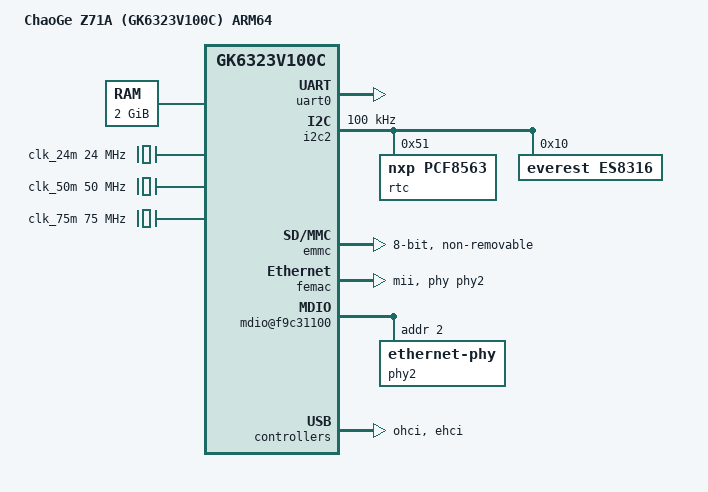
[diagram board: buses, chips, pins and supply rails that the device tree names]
// SPDX-License-Identifier: GPL-2.0+
/*
 * 国科微 GK6323V100C（整机型号 ChaoGe Z71A）板级设备树 —— CRG 门控/复位版
 *
 * 基线 = 能正常进 rootfs 的那一版（256 行，引导最小集），本版只在它上面
 * 加了三处，其余一行未动：
 *
 *   1) soc 下新增 CRG 节点 clock@f8a22000，compatible 用本仓库 900-01 补丁
 *      新增的驱动认的 "goke,gk6323v100c-crg"，只提供 #reset-cells = <2>
 *      （寄存器偏移, 位号）。该驱动在 probe 时直接把 eMMC / USB2 / FEMAC
 *      三组时钟门控写开、软复位放开；
 *   2) femac 节点补上 resets = <&cru 0xd0 3>; reset-names = "mac";
 *      —— hisi_femac 驱动对 "mac" 复位是强制要求，缺了它 probe 直接失败
 *      （真机日志里那条 hisi-femac ... failed with error -2 就是它）；
 *      只给 "mac"，不给 "phy"：给了 "phy" 之后驱动会去读
 *      hisilicon,phy-reset-* 延时属性，属性不存在会让 probe 直接失败。
 *   3) 补回 vdp@7f000000 保留区（16MB）：U-Boot 把开机 logo 的帧缓冲放在
 *      0x7f511000，内核若把这块当普通内存分配会立刻盖掉画面（花屏）。
 *
 * 为什么外设时钟仍用 fixed-clock、不引用 <&cru N>：
 *   时钟 provider 一旦注册失败，所有引用它的外设会永久 -EPROBE_DEFER，
 *   连挂根文件系统的 eMMC 一起拖死。门控由 CRG 驱动直接写寄存器完成，
 *   效果相同而不会牵连启动路径。
 *
 * 与真机原树的有意差异（让主线内核能认领硬件）：
 *   1) eMMC 的 compatible 追加 "snps,dw-mshc"，使主线 dw_mmc-pltfm 能够认领；
 *   2) 各外设时钟用下面的 fixed-clock，不再引用国科私有 CRU；
 *   3) 真机树里主线无驱动的节点（cpufreq、thermal、ir）不写；
 *      aiao 音频改用补丁库 605-03 的 hisilicon,hi3798mv200-aiao-i2s 节点。
 *
 * 中断 specifier：GICv3 为 3 个 cell = <类型 号 触发方式>，类型 0=SPI、1=PPI，
 * 号是 GIC 视角的号（SPI 号 = 真机 /proc/interrupts 里的号 - 32）。
 */

/dts-v1/;

/ {
	model = "ChaoGe Z71A (GK6323V100C) ARM64";
	compatible = "chaoge,z71a", "goke,gk6323v100c";
	#address-cells = <2>;
	#size-cells = <2>;
	interrupt-parent = <&gic>;

	/* stdout-path = "serial0:..." 依赖这条别名，其余别名引导用不到 */
	aliases {
		serial0 = &uart0;
	};

	chosen {
		/* 与 bootargs 分区一致；root= 亦由此下发 */
		bootargs = "earlycon=pl011,mmio32,0xf8b00000,115200n8 console=ttyAMA0,115200n8 console=tty0 clk_ignore_unused net.ifnames=0 root=/dev/mmcblk0p18 rootfstype=ext4 rootwait rw panic=-1 blkdevparts=mmcblk0:1M(fastboot),512K(bootargs),512K(bootargsbak),20M(recovery),2M(deviceinfo),8M(securestore),2M(atf),8M(baseparam),8M(pqparam),2M(dtbo),10M(logo),10M(logobak),20M(fastplay),20M(recoverybak),60M(boot),20M(misc),20M(trustedcore),-(rootfs)";
		stdout-path = "serial0:115200n8";
	};

	/*
	 * 内存：2GiB，取自真机导出的设备树，与真机 /proc/meminfo 的
	 * MemTotal: 2018984 kB 吻合。
	 * ★ 不要被 U-Boot 的 "DRAM: 1 GiB" 误导：那是 U-Boot 自己的可映射上限，
	 *   不代表硬件容量。写成 1GiB 会让内核白白少认一半内存。
	 */
	memory@0 {
		device_type = "memory";
		reg = <0x00 0x00 0x00 0x80000000>;
	};

	/* BL31(ATF) 与 OPTEE 占用区，必须告知内核，否则会被当作可用内存 */
	reserved-memory {
		#address-cells = <2>;
		#size-cells = <2>;
		ranges;

		bl31@8020000 {
			reg = <0x00 0x8020000 0x00 0x200000>;
			no-map;
		};

		optee@d200000 {
			reg = <0x00 0xd200000 0x00 0x400000>;
			no-map;
		};

		/*
		 * VDP/framebuffer 保留区（16MB）：
		 * U-Boot 在 0x7f511000 放了开机 logo 的帧缓冲，内核若把这块当
		 * 普通内存分配，会立刻盖掉画面造成花屏。与真机原树的
		 * vdp@7f000000 对齐。
		 */
		vdp@7f000000 {
			reg = <0x00 0x7f000000 0x00 0x01000000>;
			no-map;
		};
	};

	/*
	 * 外设时钟一律用固定时钟：国科私有 CRU 无主线驱动，引用它会让外设
	 * probe 永久 -EPROBE_DEFER；CRG 的门控与复位由 900-01 补丁的驱动
	 * 在 probe 时直接写寄存器处理。
	 */
	clocks {
		clk_24m: clk-24m {
			compatible = "fixed-clock";
			#clock-cells = <0>;
			clock-frequency = <24000000>;
		};

		clk_50m: clk-50m {
			compatible = "fixed-clock";
			#clock-cells = <0>;
			clock-frequency = <50000000>;
		};

		clk_75m: clk-75m {
			compatible = "fixed-clock";
			#clock-cells = <0>;
			clock-frequency = <75000000>;
		};

		/*
		 * AIAO 送给板载 ES8316 的 MCLK。48k 家族要 256×fs = 12.288MHz，
		 * 与下面 sound 节点的 simple-audio-card,mclk-fs = <256> 对应。
		 * 真实 MCLK 引脚由 AIAO 块自己按 245.76MHz 分频驱动（在驱动里），
		 * 这里这条只让 codec 驱动知道该按什么频率算。
		 */
		clk_12288: clk-12288 {
			compatible = "fixed-clock";
			#clock-cells = <0>;
			clock-frequency = <12288000>;
		};
	};

	cpus {
		#address-cells = <1>;
		#size-cells = <0>;

		cpu0: cpu@0 {
			device_type = "cpu";
			compatible = "arm,cortex-a55";
			reg = <0x0>;
			enable-method = "psci";
		};

		cpu1: cpu@100 {
			device_type = "cpu";
			compatible = "arm,cortex-a55";
			reg = <0x100>;
			enable-method = "psci";
		};

		cpu2: cpu@200 {
			device_type = "cpu";
			compatible = "arm,cortex-a55";
			reg = <0x200>;
			enable-method = "psci";
		};

		cpu3: cpu@300 {
			device_type = "cpu";
			compatible = "arm,cortex-a55";
			reg = <0x300>;
			enable-method = "psci";
		};
	};

	psci {
		compatible = "arm,psci-0.2";
		method = "smc";
	};

	/* A55 的 arch timer：4 个 PPI，频率 24MHz（与真机一致） */
	timer {
		compatible = "arm,armv8-timer";
		interrupts = <1 13 4>, <1 14 4>, <1 11 4>, <1 10 4>;
		clock-frequency = <24000000>;
	};

	gic: interrupt-controller@f1000000 {
		compatible = "arm,gic-v3";
		reg = <0x0 0xf1000000 0x0 0x10000>,
		      <0x0 0xf1040000 0x0 0x80000>;
		interrupt-controller;
		#interrupt-cells = <3>;
	};

	soc: soc@f0000000 {
		#address-cells = <1>;
		#size-cells = <1>;
		compatible = "simple-bus";
		ranges = <0xf0000000 0x0 0xf0000000 0x10000000>;

		/*
		 * 国科 GK6323V100C 的 CRU/CRG（时钟 + 复位控制器）。
		 *
		 * 基址 f8a22000 的三重依据：
		 *   - 真机原厂 TTL 第 207 行：gk6323v100c-cru f8a22000.clock
		 *   - 反编译原厂设备树的 clock@f8a22000
		 *   - Hi3798MV310 BSP 里 hivendor_clock 的基址
		 *
		 * compatible 由本仓库 patches/900-01 补丁新增的驱动绑定。
		 * 只给 #reset-cells = <2>（寄存器偏移, 位号），例：
		 *   resets = <&cru 0xd0 3>;
		 * 不给 #clock-cells —— 外设时钟仍走上面的 fixed-clock。
		 */
		cru: clock@f8a22000 {
			compatible = "goke,gk6323v100c-crg";
			reg = <0xf8a22000 0x400>;
			#reset-cells = <2>;
		};

		/* 控制台串口：bootargs 的 console=ttyAMA0 指这里 */
		uart0: serial@f8b00000 {
			compatible = "arm,pl011", "arm,primecell";
			reg = <0xf8b00000 0x1000>;
			interrupts = <0 49 4>;
			clocks = <&clk_75m>, <&clk_75m>;
			clock-names = "uartclk", "apb_pclk";
		};

		/* 板载 RTC：PCF8563 挂在 i2c2 上，地址 0x51 */
		i2c2: i2c@f8b12000 {
			compatible = "hisilicon,hix5hd2-i2c";
			reg = <0xf8b12000 0x1000>;
			interrupts = <0 40 4>;
			clocks = <&clk_50m>;
			clock-names = "apb_pclk";
			clock-frequency = <100000>;
			#address-cells = <1>;
			#size-cells = <0>;

			rtc@51 {
				compatible = "nxp,pcf8563";
				reg = <0x51>;
			};

			/* 板载声卡 codec：ES8316，地址 0x10（与真机原树一致） */
			es8316: audio-codec@10 {
				compatible = "everest,es8316";
				reg = <0x10>;
				clocks = <&clk_12288>;
				clock-names = "mclk";
				#sound-dai-cells = <0>;
			};
		};

		/*
		 * eMMC：根文件系统在 mmcblk0p18，本项必须起来。
		 * 第二段 reg 是国科 CRU 里那 0x40 字节的 SD 时钟控制寄存器，保留原位，
		 * 主线驱动不会去动它（时钟由 bootloader 保持上电）。
		 */
		emmc: mmc@f9830000 {
			compatible = "goke,gk6323v100c-dw-mshc", "snps,dw-mshc";
			reg = <0xf9830000 0x1000>, <0xf8a21000 0x40>;
			interrupts = <0 35 4>;
			clocks = <&clk_50m>, <&clk_50m>;
			clock-names = "biu", "ciu";
			fifo-depth = <0x100>;
			card-detect-delay = <200>;
			bus-width = <8>;
			non-removable;
			mmc-ddr-1_8v;
			disable-wp;
		};

		/*
		 * 板载百兆网口：PHY 挂在下面的 mdio 总线上，地址 2。
		 *
		 * resets 只声明 "mac" = PERI_CRG51 @ 0xd0 bit3 —— hisi_femac 对它是
		 * 强制要求，缺了 probe 直接 -ENOENT（日志里那条 error -2 就是它）。
		 *
		 * 有意不声明 "phy"（0x388 bit4）：真机原厂设备树里网卡节点完全没有
		 * resets，PHY 一直保持 U-Boot 交棒时的状态，原厂内核在同一位置读到
		 * 的 PHY ID 是 0x20669906（原厂 TTL: "phy_id=0x20669906"）。我们一旦
		 * 给它声明 "phy"，驱动就会对 0x388 bit4 做一次「断言→延时→释放」，
		 * 之后 PHY ID 读回 0x00000000 —— MDIO 上地址 2 认得到，但 PHY 芯片
		 * 不响应（能力寄存器全读不出，ethtool 显示 Supported link modes:
		 * Not reported、Supports auto-negotiation: No）。这颗是内置 FEPHY，
		 * bit4 的语义未必与 mv200 相同，在拿到 GK6323 的确切位定义前不去碰它。
		 *
		 * phy_rst 在驱动里是可选的（if (priv->phy_rst)），不声明 "phy" 就整段
		 * 跳过 hisi_femac_phy_reset。hisilicon,phy-reset-delays-us 保留不动：
		 * 驱动只在 phy_rst 存在时才读它，留着不会报错，也方便以后恢复。
		 */
		femac: ethernet@f9c30000 {
			compatible = "hisilicon,hisi-femac-v2";
			reg = <0xf9c30000 0x1000>, <0xf9c31300 0x300>;
			interrupts = <0 72 4>;
			clocks = <&clk_75m>;
			resets = <&cru 0xd0 3>;
			reset-names = "mac";
			hisilicon,phy-reset-delays-us = <10000 10000 500000>;
			phy-mode = "mii";
			phy-handle = <&phy2>;
		};

		mdio@f9c31100 {
			compatible = "hisilicon,hisi-femac-mdio";
			reg = <0xf9c31100 0x100>;
			clocks = <&clk_75m>;
			#address-cells = <1>;
			#size-cells = <0>;

			phy2: ethernet-phy@2 {
				reg = <0x2>;
			};
		};

		/*
		 * AIAO 音频控制器（国科叫 gk6323-aiao，寄存器与海思 mv200 同源）。
		 * 主板把 I2S 送给 i2c2 上的 ES8316，MCLK 也由本块产生。
		 *
		 * compatible 取补丁库 605-03 那句话。注意它的 mv200 变体表只暴露
		 * HDMI 那个发送端口（DAI 索引 0），板载 ES8316 若接在别的发送端口上，
		 * 声卡能建起来但不出声 —— 那一步要改驱动端口表，不在设备树里。
		 */
		aiao: audio@f8cd0000 {
			compatible = "hisilicon,hi3798mv200-aiao-i2s";
			reg = <0xf8cd0000 0x4000>;
			interrupts = <0 84 4>;
			clocks = <&clk_50m>, <&clk_12288>;
			clock-names = "aiao", "mclk";
			resets = <&cru 0x118 4>;
			#sound-dai-cells = <1>;
		};

		/*
		 * USB2.0：真机只有 EHCI/OHCI，无 xhci。
		 * 这两项不写 clocks / resets：接线统一由 CRG 驱动在 probe 时
		 * 直接开门控、放复位（0xb8 / 0xbc），少一处引用就少一处
		 * 可能导致 probe 延后的依赖。
		 */
		ohci: usb@f9880000 {
			compatible = "generic-ohci";
			reg = <0xf9880000 0x10000>;
			interrupts = <0 67 4>;
		};

		ehci: usb@f9890000 {
			compatible = "generic-ehci";
			reg = <0xf9890000 0x10000>;
			interrupts = <0 66 4>;
		};

		/* SP805 看门狗：也是 panic 后重启的复位通道 */
		watchdog@f8a2c000 {
			compatible = "arm,sp805-wdt", "arm,primecell";
			reg = <0xf8a2c000 0x1000>;
			clocks = <&clk_24m>;
			clock-names = "apb_pclk";
			clock-frequency = <24000000>;
			timeout-sec = <60>;
		};
	};

	/*
	 * 声卡：与真机原树同构 —— simple-audio-card，CPU DAI 是 AIAO，
	 * codec 是 ES8316，AIAO 当 bitclock/frame 主（AIAO 的 dai 只接受
	 * CBP_CFP，所以两个 master 都指 cpu 子节点）。
	 */
	sound {
		compatible = "simple-audio-card";
		simple-audio-card,name = "GK6323-ES8316";
		simple-audio-card,format = "i2s";
		simple-audio-card,mclk-fs = <256>;
		simple-audio-card,bitclock-master = <&dailink_master>;
		simple-audio-card,frame-master = <&dailink_master>;
		simple-audio-card,widgets = "Headphone", "Headphones";
		simple-audio-card,routing = "Headphones", "HPOL", "Headphones", "HPOR";

		dailink_master: simple-audio-card,cpu {
			sound-dai = <&aiao 0>;
		};

		simple-audio-card,codec {
			sound-dai = <&es8316>;
		};
	};
};
